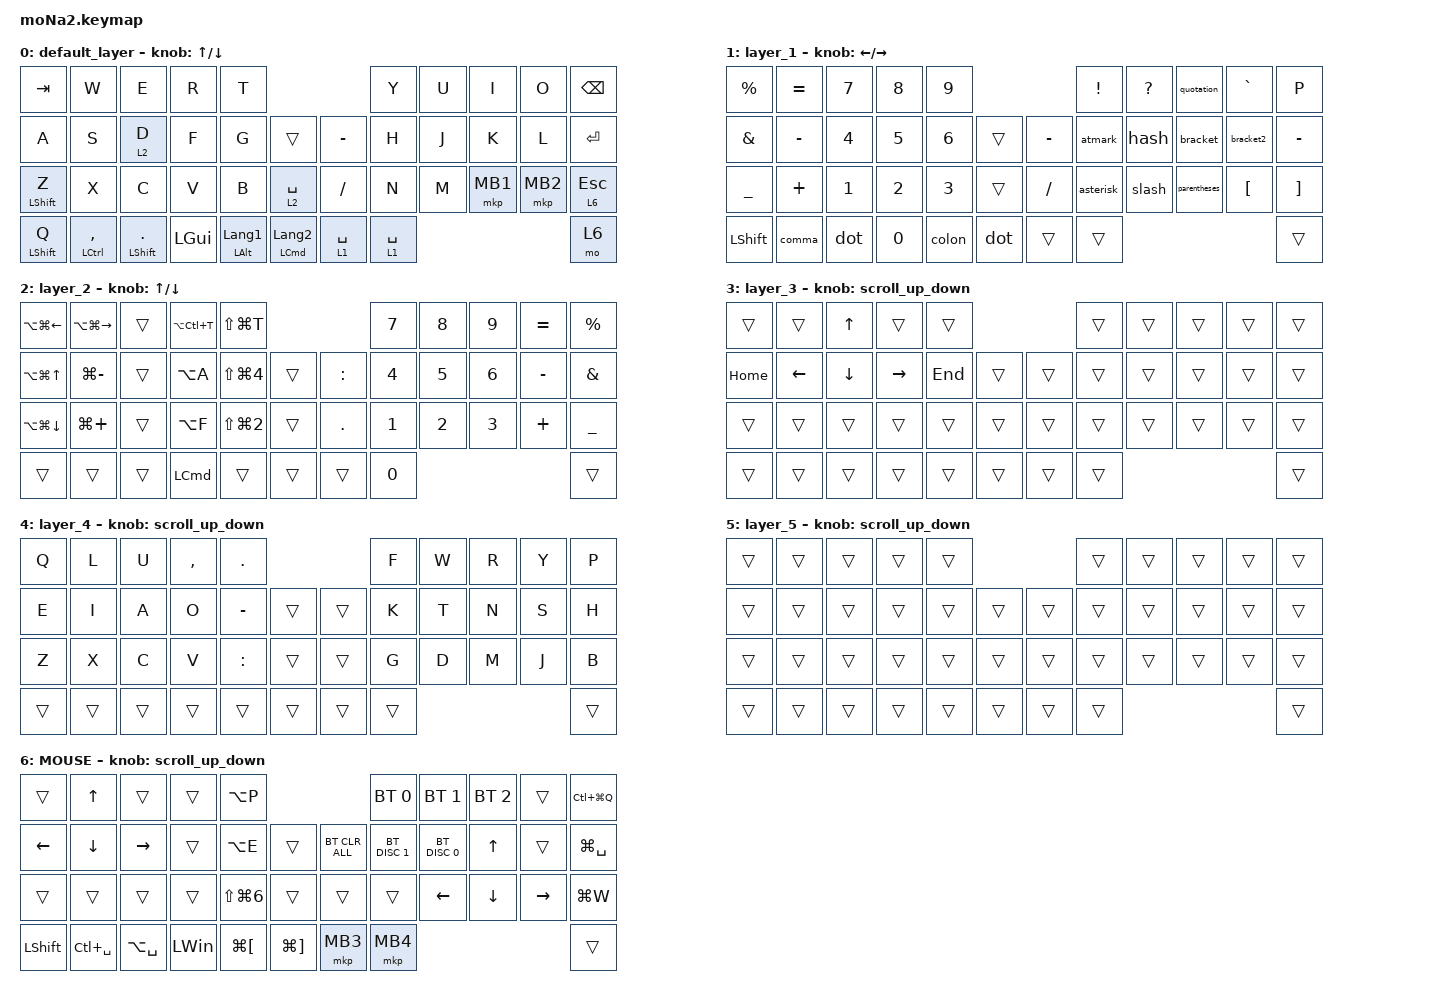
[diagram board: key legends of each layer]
#include <behaviors.dtsi>
#include <dt-bindings/zmk/bt.h>
#include <dt-bindings/zmk/keys.h>
#include <dt-bindings/zmk/pointing.h>

#define ZMK_POINTING_DEFAULT_SCRL_VAL 100
#define MOUSE 6

&mt {
    flavor = "balanced";
    quick-tap-ms = <0>;
};

/ {
    combos { compatible = "zmk,combos"; };

    macros {
        asterisk: asterisk {
            compatible = "zmk,behavior-macro";
            #binding-cells = <0>;
            bindings = <&kp LANGUAGE_2 &kp ASTERISK>;
            label = "ASTERISK";
        };

        slash: slash {
            compatible = "zmk,behavior-macro";
            #binding-cells = <0>;
            bindings = <&kp LANGUAGE_2 &kp SLASH>;
            label = "SLASH";
        };

        dot: dot {
            compatible = "zmk,behavior-macro";
            #binding-cells = <0>;
            bindings = <&kp LANGUAGE_2 &kp DOT>;
            label = "DOT";
        };

        comma: comma {
            compatible = "zmk,behavior-macro";
            #binding-cells = <0>;
            bindings = <&kp LANGUAGE_2 &kp COMMA>;
            label = "COMMA";
        };

        hash: hashtag {
            compatible = "zmk,behavior-macro";
            #binding-cells = <0>;
            bindings = <&kp LANGUAGE_2 &kp HASH>;
            label = "HASHTAG";
        };

        atmark: atmark {
            compatible = "zmk,behavior-macro";
            #binding-cells = <0>;
            bindings = <&kp LANGUAGE_2 &kp AT>;
            label = "ATMARK";
        };

        colon: colon {
            compatible = "zmk,behavior-macro";
            #binding-cells = <0>;
            bindings = <&kp LANGUAGE_2 &kp COLON>;
            label = "COLON";
        };

        bracket: bracket {
            compatible = "zmk,behavior-macro";
            #binding-cells = <0>;
            bindings = <&kp LANGUAGE_1 &kp LEFT_BRACKET &kp RIGHT_BRACKET &kp ENTER &kp LEFT_ARROW>;
            label = "BRACKET";
        };

        parentheses: parentheses {
            compatible = "zmk,behavior-macro";
            #binding-cells = <0>;
            bindings = <&kp LANGUAGE_1 &kp LEFT_PARENTHESIS &kp RIGHT_PARENTHESIS &kp ENTER &kp LEFT_ARROW>;
            label = "PARENTHESES";
        };

        task: task {
            compatible = "zmk,behavior-macro";
            #binding-cells = <0>;
            bindings = <&kp LANGUAGE_2 &kp LBKT &kp RIGHT_BRACKET &kp SPACE>;
            label = "TASK";
        };

        bracket2: bracket2 {
            compatible = "zmk,behavior-macro";
            #binding-cells = <0>;
            bindings = <&kp LANGUAGE_1 &kp LEFT_BRACKET &kp RIGHT_BRACKET>;
            label = "BRACKET2";
        };

        quotation: quotation {
            compatible = "zmk,behavior-macro";
            #binding-cells = <0>;
            bindings = <&kp LANGUAGE_2 &kp DOUBLE_QUOTES>;
            label = "QUOTATION";
        };

        mention: mention {
            compatible = "zmk,behavior-macro";
            #binding-cells = <0>;
            bindings = <&kp LANGUAGE_2 &kp LEFT_BRACKET &kp LEFT_BRACKET>;
            label = "MENTION";
        };

        code: code {
            compatible = "zmk,behavior-macro";
            #binding-cells = <0>;
            bindings = <&kp LANGUAGE_2 &kp GRAVE>;
            label = "CODE";
        };

        colon2: colon2 {
            compatible = "zmk,behavior-macro";
            #binding-cells = <0>;
            bindings = <&kp LANGUAGE_1 &kp COLON>;
            label = "COLON2";
        };
    };

    behaviors {
        scroll_up_down: behavior_sensor_rotate_mouse_wheel_up_down {
            compatible = "zmk,behavior-sensor-rotate";
            #sensor-binding-cells = <0>;
            bindings = <&msc SCRL_UP>, <&msc SCRL_DOWN>;

            tap-ms = <20>;
        };
    };

    keymap {
        compatible = "zmk,keymap";

        default_layer {
            bindings = <
&kp TAB           &kp W                   &kp E                  &kp R         &kp T                                                                &kp Y        &kp U  &kp I     &kp O     &kp BACKSPACE
&kp A             &kp S                   &lt 2 D                &kp F         &kp G                    &trans                         &kp MINUS    &kp H        &kp J  &kp K     &kp L     &kp ENTER
&mt LEFT_SHIFT Z  &kp X                   &kp C                  &kp V         &kp B                    &lt 2 SPACE                    &kp SLASH    &kp N        &kp M  &mkp MB1  &mkp MB2  &lt 6 ESCAPE
&mt LEFT_SHIFT Q  &mt LEFT_CONTROL COMMA  &mt LEFT_SHIFT PERIOD  &kp LEFT_GUI  &mt LEFT_ALT LANGUAGE_1  &mt LEFT_COMMAND LANGUAGE_2    &lt 1 SPACE  &lt 1 SPACE                             &mo 6
            >;

            sensor-bindings = <&inc_dec_kp UP_ARROW DOWN_ARROW>;
        };

        layer_1 {
            bindings = <
&kp PERCENT     &kp EQUAL  &kp N7        &kp N8        &kp N9                             &kp EXCLAMATION  &kp QUESTION  &quotation    &kp GRAVE         &kp P
&kp AMPERSAND   &kp MINUS  &kp NUMBER_4  &kp N5        &kp NUMBER_6  &trans    &kp MINUS  &atmark          &hash         &bracket      &bracket2         &kp MINUS
&kp UNDERSCORE  &kp PLUS   &kp NUMBER_1  &kp NUMBER_2  &kp NUMBER_3  &trans    &kp SLASH  &asterisk        &slash        &parentheses  &kp LEFT_BRACKET  &kp RIGHT_BRACKET
&kp LEFT_SHIFT  &comma     &dot          &kp N0        &colon        &dot      &trans     &trans                                                         &trans
            >;

            sensor-bindings = <&inc_dec_kp LEFT_ARROW RIGHT_ARROW>;
        };

        layer_2 {
            bindings = <
&kp LA(LG(LEFT_ARROW))  &kp LA(LG(RIGHT_ARROW))  &trans  &kp LA(LC(T))     &kp LS(LG(T))                               &kp N7        &kp N8        &kp N9        &kp EQUAL  &kp PERCENT
&kp LA(LG(UP_ARROW))    &kp LG(MINUS)            &trans  &kp LA(A)         &kp LS(LG(NUMBER_4))  &trans    &kp COLON   &kp NUMBER_4  &kp N5        &kp NUMBER_6  &kp MINUS  &kp AMPERSAND
&kp LA(LG(DOWN_ARROW))  &kp LG(PLUS)             &trans  &kp LA(F)         &kp LS(LG(NUMBER_2))  &trans    &kp PERIOD  &kp NUMBER_1  &kp NUMBER_2  &kp NUMBER_3  &kp PLUS   &kp UNDERSCORE
&trans                  &trans                   &trans  &kp LEFT_COMMAND  &trans                &trans    &trans      &kp N0                                               &trans
            >;

            sensor-bindings = <&inc_dec_kp UP_ARROW DOWN_ARROW>;
        };

        layer_3 {
            bindings = <
&trans    &trans          &kp UP_ARROW    &trans           &trans                     &trans  &trans  &trans  &trans  &trans
&kp HOME  &kp LEFT_ARROW  &kp DOWN_ARROW  &kp RIGHT_ARROW  &kp END  &trans    &trans  &trans  &trans  &trans  &trans  &trans
&trans    &trans          &trans          &trans           &trans   &trans    &trans  &trans  &trans  &trans  &trans  &trans
&trans    &trans          &trans          &trans           &trans   &trans    &trans  &trans                          &trans
            >;

            sensor-bindings = <&scroll_up_down>;
        };

        layer_4 {
            bindings = <
&kp Q   &kp L   &kp U   &kp COMMA  &kp PERIOD                    &kp F   &kp W  &kp R  &kp Y  &kp P
&kp E   &kp I   &kp A   &kp O      &kp MINUS   &trans    &trans  &kp K   &kp T  &kp N  &kp S  &kp H
&kp Z   &kp X   &kp C   &kp V      &kp COLON   &trans    &trans  &kp G   &kp D  &kp M  &kp J  &kp B
&trans  &trans  &trans  &trans     &trans      &trans    &trans  &trans                       &trans
            >;

            sensor-bindings = <&scroll_up_down>;
        };

        layer_5 {
            bindings = <
&trans  &trans  &trans  &trans  &trans                    &trans  &trans  &trans  &trans  &trans
&trans  &trans  &trans  &trans  &trans  &trans    &trans  &trans  &trans  &trans  &trans  &trans
&trans  &trans  &trans  &trans  &trans  &trans    &trans  &trans  &trans  &trans  &trans  &trans
&trans  &trans  &trans  &trans  &trans  &trans    &trans  &trans                          &trans
            >;

            sensor-bindings = <&scroll_up_down>;
        };

        MOUSE {
            bindings = <
&trans          &kp UP_ARROW    &trans           &trans        &kp LA(P)                                                      &bt BT_SEL 0   &bt BT_SEL 1    &bt BT_SEL 2    &trans           &kp LC(LG(Q))
&kp LEFT_ARROW  &kp DOWN_ARROW  &kp RIGHT_ARROW  &trans        &kp LA(E)             &trans                   &bt BT_CLR_ALL  &bt BT_DISC 1  &bt BT_DISC 0   &kp UP_ARROW    &trans           &kp LG(SPACE)
&trans          &trans          &trans           &trans        &kp LS(LG(NUMBER_6))  &trans                   &trans          &trans         &kp LEFT_ARROW  &kp DOWN_ARROW  &kp RIGHT_ARROW  &kp LG(W)
&kp LEFT_SHIFT  &kp LC(SPACE)   &kp LA(SPACE)    &kp LEFT_WIN  &kp LG(LEFT_BRACKET)  &kp LG(RIGHT_BRACKET)    &mkp MB3        &mkp MB4                                                        &trans
            >;

            sensor-bindings = <&scroll_up_down>;
        };
    };
};
